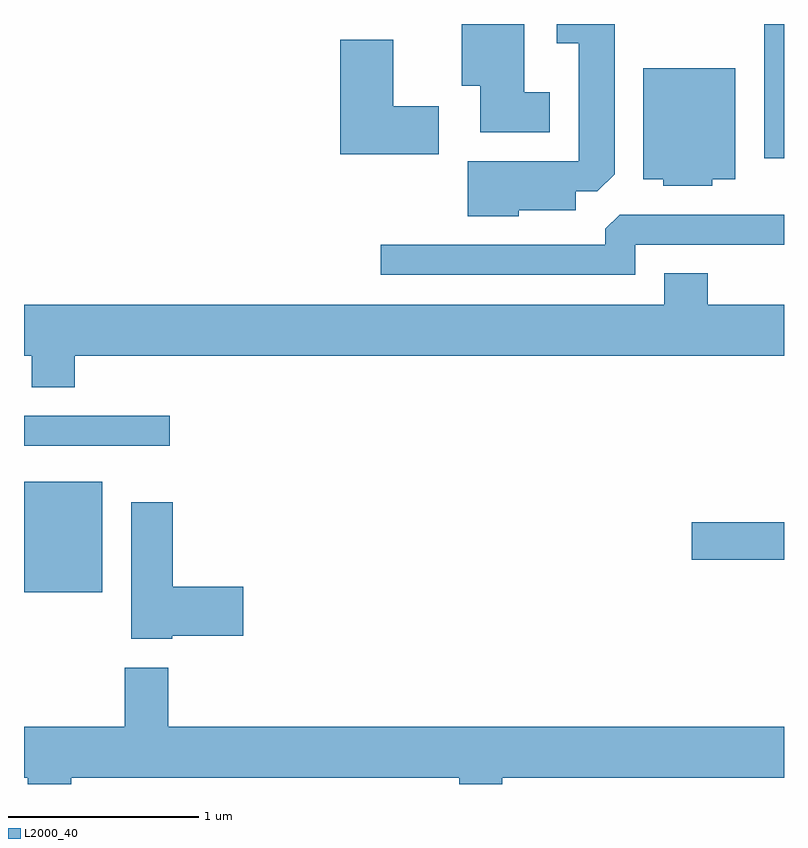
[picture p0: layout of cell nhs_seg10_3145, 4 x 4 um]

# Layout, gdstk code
import gdstk
lib = gdstk.Library(unit=1e-6, precision=1e-09)
def R(c, l, rs):  # rectangles x0, y0, x1, y1
    for r in rs: c.add(gdstk.rectangle(r[:2], r[2:], *l))
def P(c, l, *ps):  # polygons
    for p in ps: c.add(gdstk.Polygon(p, *l))
L2000_40 = (2000, 40)

nhs_seg10_3145 = lib.new_cell('nhs_seg10_3145')
R(nhs_seg10_3145, L2000_40, [(277.611,2141.531,278.024,2142.114), (281.126,2141.701,281.611,2141.899), (277.611,2142.301,278.378,2142.459), (281.506,2143.816,281.611,2144.522)])
P(nhs_seg10_3145, L2000_40, [(280.214,2143.541),(280.514,2143.541),(280.514,2143.641),(280.629,2143.641),(280.719,2143.732),(280.719,2144.522),(280.416,2144.522),(280.416,2144.421),(280.531,2144.421),(280.531,2143.799),(279.946,2143.799),(279.946,2143.511),(280.214,2143.511)],
  [(280.379,2144.164),(280.244,2144.164),(280.244,2144.522),(279.916,2144.522),(279.916,2144.196),(280.011,2144.196),(280.011,2143.951),(280.379,2143.951)],
  [(279.794,2144.089),(279.554,2144.089),(279.554,2144.439),(279.276,2144.439),(279.276,2143.836),(279.794,2143.836)],
  [(281.234,2143.706),(281.354,2143.706),(281.354,2144.289),(280.871,2144.289),(280.871,2143.706),(280.976,2143.706),(280.976,2143.671),(281.234,2143.671)],
  [(280.829,2143.361),(281.611,2143.361),(281.611,2143.519),(280.747,2143.519),(280.671,2143.444),(280.671,2143.359),(279.488,2143.359),(279.488,2143.201),(280.829,2143.201)],
  [(277.611,2142.776),(277.651,2142.776),(277.651,2142.611),(277.879,2142.611),(277.879,2142.776),(281.611,2142.776),(281.611,2143.044),(281.209,2143.044),(281.209,2143.209),(280.981,2143.209),(280.981,2143.044),(277.611,2143.044)],
  [(278.39,2141.301),(278.764,2141.301),(278.764,2141.559),(278.394,2141.559),(278.394,2142.004),(278.176,2142.004),(278.176,2141.286),(278.39,2141.286)],
  [(277.859,2140.556),(279.901,2140.556),(279.901,2140.522),(280.129,2140.522),(280.129,2140.556),(281.611,2140.556),(281.611,2140.824),(278.369,2140.824),(278.369,2141.134),(278.141,2141.134),(278.141,2140.824),(277.611,2140.824),(277.611,2140.556),(277.631,2140.556),(277.631,2140.522),(277.859,2140.522)])

lib.write_gds('nhs_seg10_3145.gds')
